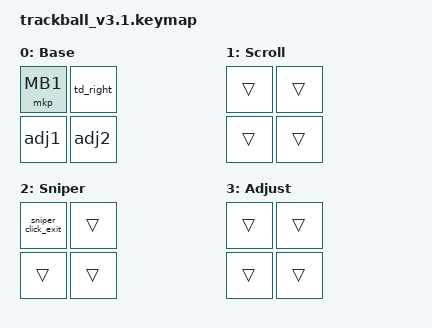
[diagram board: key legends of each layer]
#include "keys_ru.h"
#include <dt-bindings/zmk/input_transform.h>
#include <input/processors.dtsi>
#include <zephyr/dt-bindings/input/input-event-codes.h>
#include <dt-bindings/zmk/matrix_transform.h>
#include <scroll-snap.dtsi>
#include <behaviors.dtsi>
#include <dt-bindings/zmk/bt.h>
#include <dt-bindings/zmk/pointing.h>

/ {
    default_transform: keymap_transform_0 {
        compatible = "zmk,matrix-transform";
        columns = <2>;
        rows = <2>;
        map = <
            RC(0,3) RC(0,2)
            RC(0,5) RC(0,4)
        >;
    };

    combos {
        compatible = "zmk,combos";

        scroll_ctrl_combo {
            timeout-ms = <50>;
            slow-release;
            key-positions = <0 1>;
            bindings = <&scroll_ctrl>;
        };
    };

    behaviors {
        tog_off: toggle_layer_off_only {
            compatible = "zmk,behavior-toggle-layer";
            label = "TOG_OFF";
            #binding-cells = <1>;
            toggle-mode = "off";
        };

        adj1: adj1 {
            compatible = "zmk,behavior-tap-dance";
            label = "ADJ1";
            #binding-cells = <0>;
            bindings = <&bt BT_SEL 0>, <&bt BT_CLR>;
        };

        adj2: adj2 {
            compatible = "zmk,behavior-tap-dance";
            label = "ADJ2";
            #binding-cells = <0>;
            bindings = <&bt BT_NXT>, <&bt BT_CLR_ALL>;
        };

        hold_mo_tap_mkp: hold_mo_tap_mkp {
            compatible = "zmk,behavior-hold-tap";
            label = "HOLD_MO_TAP_MKP";
            bindings = <&mo>, <&mkp>;
            #binding-cells = <2>;
            tapping-term-ms = <200>;
            quick-tap-ms = <0>;
            hold-while-undecided;
            hold-while-undecided-linger;
        };

        scroll_ctrl: scroll_ctrl {
            compatible = "zmk,behavior-macro";
            label = "SCROLL_CTRL";
            #binding-cells = <0>;
            wait-ms = <0>;
            tap-ms = <0>;
            bindings
                = <&macro_press &mo 1>
                , <&macro_press &kp LCTRL>
                , <&macro_pause_for_release>
                , <&macro_release &kp LCTRL>
                , <&macro_release &mo 1>
                ;
        };

        sniper_click_exit: sniper_click_exit {
            compatible = "zmk,behavior-macro";
            label = "SNIPER_CLICK_EXIT";
            #binding-cells = <0>;
            wait-ms = <0>;
            tap-ms = <12>;
            bindings
                = <&macro_tap &mkp MB1>
                , <&macro_tap &tog_off 2>
                ;
        };

        td_right: td_right {
            compatible = "zmk,behavior-tap-dance";
            label = "TD_RIGHT";
            #binding-cells = <0>;
            tapping-term-ms = <220>;
            bindings =
                <&hold_mo_tap_mkp 1 MB2>
                , <&tog 1>
                , <&tog 2>
                ;
        };
    };

    keymap {
        compatible = "zmk,keymap";

        base {
            bindings = <
                &mkp MB1   &td_right
                &adj1      &adj2
            >;
            display-name = "Base";
        };

        scroll {
            bindings = <
                &trans  &trans
                &trans  &trans
            >;
            display-name = "Scroll";
        };

        sniper {
            bindings = <
                &sniper_click_exit  &trans
                &trans              &trans
            >;
            display-name = "Sniper";
        };

        adjust {
            bindings = <
                &trans  &trans
                &trans  &trans
            >;
            display-name = "Adjust";
        };
    };
};

&trackball {
    cpi = <2000>;
};

&trackball_listener {
    input-processors = <&zip_xy_scaler 9 20>;

    scroller {
        layers = <1>;
        input-processors =
            <&zip_xy_transform INPUT_TRANSFORM_Y_INVERT>,
            <&zip_xy_scaler 1 64>,
            <&zip_xy_to_scroll_mapper &zip_scroll_snap>;
    };

    sniper {
        layers = <2>;
        input-processors = <&zip_xy_scaler 1 4>;
    };

    adjust {
        layers = <3>;
        input-processors = <&zip_xy_scaler 1 8>;
    };
};
